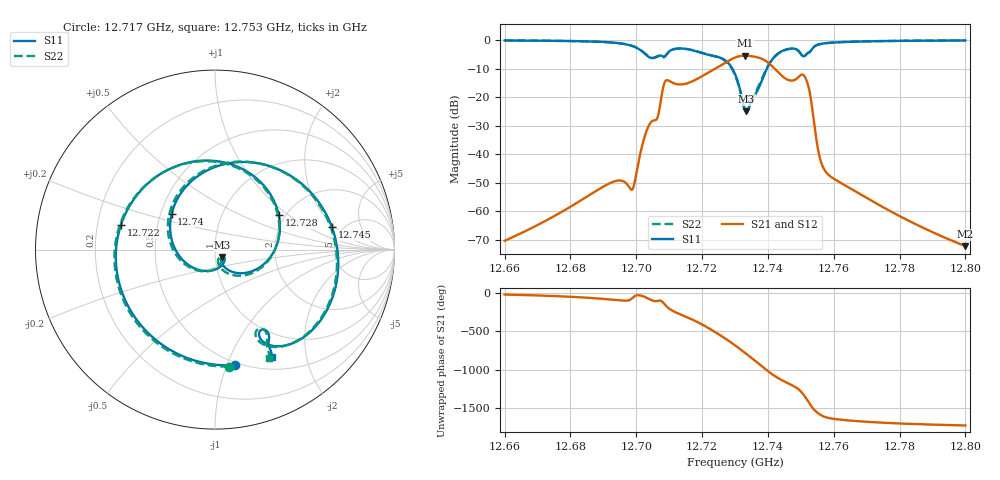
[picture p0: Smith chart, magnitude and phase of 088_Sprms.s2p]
! TOUCHSTONE file generated by CST MICROWAVE STUDIO
! Date and time: Wed Jul 31 15:10:35 2024
! Project name: WaveGuide_BPF-Ver4.1_U-shape_Ku_T3_C4_CWA_2.cst
! Parameters = {cavity_h=16; cavity_l0=10; cavity_l1=15.1893; cavity_l2=16.8609; cavity_l3=17.1289; cavity_l4=17.2656; cavity_l5=17.0976; cavity_l6=17.6178; cavity_r=2.5; cavity_screw_l=0.5; cavity_screw_r=1.5; cavity_w=8; iris_h00=0; iris_h01=8.8381; iris_h112=0; iris_h12=5.5995; iris_h211=3.6565; 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
! Header version: 2018
! Port assignment regex: !\s*Touchstone port\s*([0-9]+)\s*=\s*(CST MWS port|CST DS port)\s*([0-9]+|Zmin|Zmax)\s*\(\"(.*)\"\)(\s*mode\s*([0-9]+))?.*
! Touchstone port assignment:
! Touchstone port 1 = CST MWS port 1 ("")
! Touchstone port 2 = CST MWS port 2 ("")
# GHz S RI R 50
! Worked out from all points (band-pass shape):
!   5001 points, 12.66 GHz to 12.8 GHz, reference 50 ohm
!   highest |S21| = -5.50 dB at 12.733 GHz (marker M1); lowest = -72.3 dB at 12.8 GHz (marker M2)
!   |S21| within 3 dB of the highest: 12.72631 GHz to 12.74065 GHz (14.34 MHz wide, 0.113 % of centre)
!   lowest |S11| = -25.0 dB at 12.733 GHz (marker M3), VSWR 1.12, Z = 53.8 - j4.41 ohm
!   |S11| at or under -10 dB: 12.72917 GHz to 12.73972 GHz (10.55 MHz wide, 0.0829 % of centre)
!   |S22| runs from -25.7 to -0.2 dB; largest |S21 - S12| = 1.4e-09
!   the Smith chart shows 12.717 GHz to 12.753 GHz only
!   S11 on the Smith chart (normalised r, x): 12.717 GHz: 0.48, -1.07; 12.722 GHz: 0.30, +0.12; 12.728 GHz: 1.85, +0.84; 12.74 GHz: 0.57, +0.25; 12.745 GHz: 4.07, +1.83; 12.753 GHz: 0.66, -1.45
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12.66  0.3573 0.9124  0.000272 -0.000132  0.000272 -0.000132  0.3686 0.9078
12.68335  0.7872 0.5339  0.000728 -0.00139  0.000728 -0.00139  0.7975 0.5178
12.69503  0.8584 -0.1672  -0.000737 -0.00337  -0.000737 -0.00337  0.8546 -0.1886
12.69875  0.5712 -0.5402  0.000643 -0.0023  0.000643 -0.0023  0.5632 -0.5539
12.70085  0.1886 -0.662  0.00661 -0.00469  0.00661 -0.00469  0.1858 -0.6708
12.70413  -0.4744 -0.1315  0.00117 -0.0339  0.00117 -0.0339  -0.474 -0.1538
12.70668  -0.1178 0.5142  -0.0121 -0.0466  -0.0121 -0.0466  -0.1268 0.5004
12.71239  0.7056 0.0548  -0.0172 0.167  -0.0172 0.167  0.7021 0.0271
12.71743  0.1098 -0.6436  0.1931 0.0066  0.1931 0.0066  0.0772 -0.6518
12.72238  -0.5237 0.1385  -0.1021 -0.258  -0.1021 -0.258  -0.5286 0.1416
12.72779  0.3555 0.1906  -0.0966 0.4123  -0.0966 0.4123  0.3544 0.1697
12.73  0.2272 -0.1114  0.394 0.2954  0.394 0.2954  0.2045 -0.1317
12.733  0.034 -0.0497  0.2696 -0.4572  0.2696 -0.4572  0.0194 -0.0521
12.73339  0.0384 -0.0408  0.1604 -0.5054  0.1604 -0.5054  0.0254 -0.045
12.73647  -0.0182 -0.117  -0.501 -0.0324  -0.501 -0.0324  -0.0415 -0.1203
12.73969  -0.2413 0.2003  0.124 0.3977  0.124 0.3977  -0.255 0.1965
12.74492  0.651 0.1259  0.0739 -0.2064  0.0739 -0.2064  0.643 0.1291
12.75327  0.3165 -0.5962  0.0604 -0.0458  0.0604 -0.0458  0.3027 -0.6022
12.75335  0.3165 -0.6079  0.0516 -0.047  0.0516 -0.047  0.3022 -0.6141
12.75761  -0.117 -0.8716  -0.00485 -0.000398  -0.00485 -0.000398  -0.1417 -0.8681
12.77668  -0.9215 -0.2697  -0.000358 0.000973  -0.000358 0.000973  -0.9271 -0.252
12.8  -0.9496 0.2451  4.91e-05 0.000238  4.91e-05 0.000238  -0.9468 0.2568
